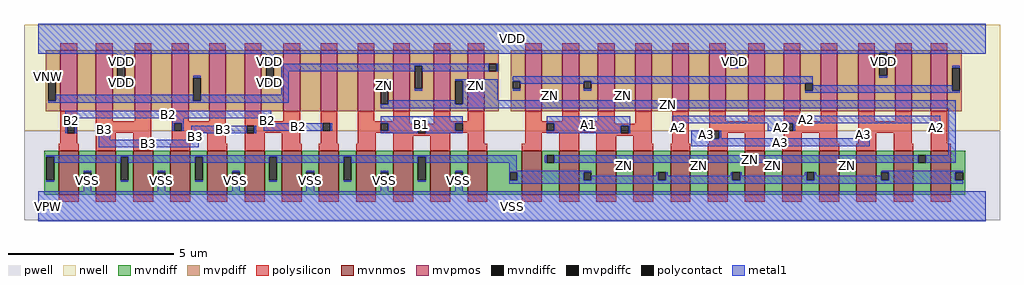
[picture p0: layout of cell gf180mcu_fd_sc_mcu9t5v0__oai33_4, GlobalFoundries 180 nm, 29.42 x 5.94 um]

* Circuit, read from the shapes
.subckt gf180mcu_fd_sc_mcu9t5v0__oai33_4 A1 A2 A3 B1 B2 B3 ZN VDD VNW VPW VSS
XM1 VSS B2 n1 VPW nfet_06v0 w=1.32u l=0.6u m=4
XM2 n1 B3 VSS VPW nfet_06v0 w=1.32u l=0.6u m=4
XM3 VSS B1 n1 VPW nfet_06v0 w=1.32u l=0.6u m=4
XM4 ZN A1 n1 VPW nfet_06v0 w=1.32u l=0.6u m=4
XM5 ZN A2 n1 VPW nfet_06v0 w=1.32u l=0.6u m=4
XM6 n1 A3 ZN VPW nfet_06v0 w=1.32u l=0.6u m=4
XM7 n2 B2 n3 VNW pfet_06v0 w=1.83u l=0.5u
XM8 VDD B3 n2 VNW pfet_06v0 w=1.83u l=0.5u
XM9 n4 B3 VDD VNW pfet_06v0 w=1.83u l=0.5u
XM10 n3 B2 n4 VNW pfet_06v0 w=1.83u l=0.5u
XM11 n5 B2 n3 VNW pfet_06v0 w=1.83u l=0.5u
XM12 VDD B3 n5 VNW pfet_06v0 w=1.83u l=0.5u
XM13 n6 B3 VDD VNW pfet_06v0 w=1.83u l=0.5u
XM14 n7 B2 n6 VNW pfet_06v0 w=1.83u l=0.5u
XM15 ZN B1 n7 VNW pfet_06v0 w=1.83u l=0.5u
XM16 n3 B1 ZN VNW pfet_06v0 w=1.83u l=0.5u m=3
XM17 ZN A1 n8 VNW pfet_06v0 w=1.83u l=0.5u m=3
XM18 n9 A1 ZN VNW pfet_06v0 w=1.83u l=0.5u
XM19 n10 A2 n9 VNW pfet_06v0 w=1.83u l=0.5u
XM20 VDD A3 n10 VNW pfet_06v0 w=1.83u l=0.5u
XM21 n11 A3 VDD VNW pfet_06v0 w=1.83u l=0.5u
XM22 n8 A2 n11 VNW pfet_06v0 w=1.83u l=0.5u
XM23 n12 A2 n8 VNW pfet_06v0 w=1.83u l=0.5u
XM24 VDD A3 n12 VNW pfet_06v0 w=1.83u l=0.5u
XM25 n13 A3 VDD VNW pfet_06v0 w=1.83u l=0.5u
XM26 n8 A2 n13 VNW pfet_06v0 w=1.83u l=0.5u
.ends

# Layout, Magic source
magic
tech gf180mcuD
magscale 1 10
<< nwell >>
rect -86 453 5798 1094
<< pwell >>
rect -86 -86 5798 453
<< mvnmos >>
rect 124 69 244 333
rect 348 69 468 333
rect 572 69 692 333
rect 796 69 916 333
rect 1020 69 1140 333
rect 1244 69 1364 333
rect 1468 69 1588 333
rect 1692 69 1812 333
rect 1916 69 2036 333
rect 2140 69 2260 333
rect 2364 69 2484 333
rect 2588 69 2708 333
rect 2916 69 3036 333
rect 3140 69 3260 333
rect 3364 69 3484 333
rect 3588 69 3708 333
rect 3812 69 3932 333
rect 4036 69 4156 333
rect 4260 69 4380 333
rect 4484 69 4604 333
rect 4708 69 4828 333
rect 4932 69 5052 333
rect 5156 69 5276 333
rect 5380 69 5500 333
<< mvpmos >>
rect 134 573 234 939
rect 348 573 448 939
rect 582 573 682 939
rect 806 573 906 939
rect 1030 573 1130 939
rect 1244 573 1344 939
rect 1478 573 1578 939
rect 1702 573 1802 939
rect 1926 573 2026 939
rect 2140 573 2240 939
rect 2384 573 2484 939
rect 2588 573 2688 939
rect 2936 573 3036 939
rect 3160 573 3260 939
rect 3374 573 3474 939
rect 3598 573 3698 939
rect 3822 573 3922 939
rect 4046 573 4146 939
rect 4280 573 4380 939
rect 4494 573 4594 939
rect 4718 573 4818 939
rect 4942 573 5042 939
rect 5166 573 5266 939
rect 5380 573 5480 939
<< mvndiff >>
rect 36 297 124 333
rect 36 157 49 297
rect 95 157 124 297
rect 36 69 124 157
rect 244 203 348 333
rect 244 157 273 203
rect 319 157 348 203
rect 244 69 348 157
rect 468 297 572 333
rect 468 157 497 297
rect 543 157 572 297
rect 468 69 572 157
rect 692 203 796 333
rect 692 157 721 203
rect 767 157 796 203
rect 692 69 796 157
rect 916 297 1020 333
rect 916 157 945 297
rect 991 157 1020 297
rect 916 69 1020 157
rect 1140 203 1244 333
rect 1140 157 1169 203
rect 1215 157 1244 203
rect 1140 69 1244 157
rect 1364 297 1468 333
rect 1364 157 1393 297
rect 1439 157 1468 297
rect 1364 69 1468 157
rect 1588 203 1692 333
rect 1588 157 1617 203
rect 1663 157 1692 203
rect 1588 69 1692 157
rect 1812 297 1916 333
rect 1812 157 1841 297
rect 1887 157 1916 297
rect 1812 69 1916 157
rect 2036 203 2140 333
rect 2036 157 2065 203
rect 2111 157 2140 203
rect 2036 69 2140 157
rect 2260 297 2364 333
rect 2260 157 2289 297
rect 2335 157 2364 297
rect 2260 69 2364 157
rect 2484 203 2588 333
rect 2484 157 2513 203
rect 2559 157 2588 203
rect 2484 69 2588 157
rect 2708 203 2916 333
rect 2708 157 2841 203
rect 2887 157 2916 203
rect 2708 69 2916 157
rect 3036 306 3140 333
rect 3036 260 3065 306
rect 3111 260 3140 306
rect 3036 69 3140 260
rect 3260 203 3364 333
rect 3260 157 3289 203
rect 3335 157 3364 203
rect 3260 69 3364 157
rect 3484 274 3588 333
rect 3484 228 3513 274
rect 3559 228 3588 274
rect 3484 69 3588 228
rect 3708 203 3812 333
rect 3708 157 3737 203
rect 3783 157 3812 203
rect 3708 69 3812 157
rect 3932 274 4036 333
rect 3932 228 3961 274
rect 4007 228 4036 274
rect 3932 69 4036 228
rect 4156 203 4260 333
rect 4156 157 4185 203
rect 4231 157 4260 203
rect 4156 69 4260 157
rect 4380 274 4484 333
rect 4380 228 4409 274
rect 4455 228 4484 274
rect 4380 69 4484 228
rect 4604 203 4708 333
rect 4604 157 4633 203
rect 4679 157 4708 203
rect 4604 69 4708 157
rect 4828 274 4932 333
rect 4828 228 4857 274
rect 4903 228 4932 274
rect 4828 69 4932 228
rect 5052 203 5156 333
rect 5052 157 5081 203
rect 5127 157 5156 203
rect 5052 69 5156 157
rect 5276 306 5380 333
rect 5276 260 5305 306
rect 5351 260 5380 306
rect 5276 69 5380 260
rect 5500 203 5588 333
rect 5500 157 5529 203
rect 5575 157 5588 203
rect 5500 69 5588 157
<< mvpdiff >>
rect 46 775 134 939
rect 46 635 59 775
rect 105 635 134 775
rect 46 573 134 635
rect 234 573 348 939
rect 448 867 582 939
rect 448 727 477 867
rect 523 727 582 867
rect 448 573 582 727
rect 682 573 806 939
rect 906 775 1030 939
rect 906 635 935 775
rect 981 635 1030 775
rect 906 573 1030 635
rect 1130 573 1244 939
rect 1344 867 1478 939
rect 1344 727 1373 867
rect 1419 727 1478 867
rect 1344 573 1478 727
rect 1578 573 1702 939
rect 1802 573 1926 939
rect 2026 755 2140 939
rect 2026 615 2065 755
rect 2111 615 2140 755
rect 2026 573 2140 615
rect 2240 847 2384 939
rect 2240 707 2269 847
rect 2315 707 2384 847
rect 2240 573 2384 707
rect 2484 755 2588 939
rect 2484 615 2513 755
rect 2559 615 2588 755
rect 2484 573 2588 615
rect 2688 858 2776 939
rect 2688 812 2717 858
rect 2763 812 2776 858
rect 2688 573 2776 812
rect 2848 753 2936 939
rect 2848 707 2861 753
rect 2907 707 2936 753
rect 2848 573 2936 707
rect 3036 681 3160 939
rect 3036 635 3065 681
rect 3111 635 3160 681
rect 3036 573 3160 635
rect 3260 753 3374 939
rect 3260 707 3289 753
rect 3335 707 3374 753
rect 3260 573 3374 707
rect 3474 681 3598 939
rect 3474 635 3503 681
rect 3549 635 3598 681
rect 3474 573 3598 635
rect 3698 573 3822 939
rect 3922 573 4046 939
rect 4146 887 4280 939
rect 4146 841 4175 887
rect 4221 841 4280 887
rect 4146 573 4280 841
rect 4380 573 4494 939
rect 4594 740 4718 939
rect 4594 694 4623 740
rect 4669 694 4718 740
rect 4594 573 4718 694
rect 4818 573 4942 939
rect 5042 926 5166 939
rect 5042 786 5071 926
rect 5117 786 5166 926
rect 5042 573 5166 786
rect 5266 573 5380 939
rect 5480 834 5568 939
rect 5480 694 5509 834
rect 5555 694 5568 834
rect 5480 573 5568 694
<< mvndiffc >>
rect 49 157 95 297
rect 273 157 319 203
rect 497 157 543 297
rect 721 157 767 203
rect 945 157 991 297
rect 1169 157 1215 203
rect 1393 157 1439 297
rect 1617 157 1663 203
rect 1841 157 1887 297
rect 2065 157 2111 203
rect 2289 157 2335 297
rect 2513 157 2559 203
rect 2841 157 2887 203
rect 3065 260 3111 306
rect 3289 157 3335 203
rect 3513 228 3559 274
rect 3737 157 3783 203
rect 3961 228 4007 274
rect 4185 157 4231 203
rect 4409 228 4455 274
rect 4633 157 4679 203
rect 4857 228 4903 274
rect 5081 157 5127 203
rect 5305 260 5351 306
rect 5529 157 5575 203
<< mvpdiffc >>
rect 59 635 105 775
rect 477 727 523 867
rect 935 635 981 775
rect 1373 727 1419 867
rect 2065 615 2111 755
rect 2269 707 2315 847
rect 2513 615 2559 755
rect 2717 812 2763 858
rect 2861 707 2907 753
rect 3065 635 3111 681
rect 3289 707 3335 753
rect 3503 635 3549 681
rect 4175 841 4221 887
rect 4623 694 4669 740
rect 5071 786 5117 926
rect 5509 694 5555 834
<< polysilicon >>
rect 134 939 234 983
rect 348 939 448 983
rect 582 939 682 983
rect 806 939 906 983
rect 1030 939 1130 983
rect 1244 939 1344 983
rect 1478 939 1578 983
rect 1702 939 1802 983
rect 1926 939 2026 983
rect 2140 939 2240 983
rect 2384 939 2484 983
rect 2588 939 2688 983
rect 2936 939 3036 983
rect 3160 939 3260 983
rect 3374 939 3474 983
rect 3598 939 3698 983
rect 3822 939 3922 983
rect 4046 939 4146 983
rect 4280 939 4380 983
rect 4494 939 4594 983
rect 4718 939 4818 983
rect 4942 939 5042 983
rect 5166 939 5266 983
rect 5380 939 5480 983
rect 134 484 234 573
rect 134 438 175 484
rect 221 438 234 484
rect 134 377 234 438
rect 348 513 448 573
rect 582 513 682 573
rect 348 484 682 513
rect 348 438 377 484
rect 423 441 682 484
rect 423 438 468 441
rect 124 333 244 377
rect 348 333 468 438
rect 572 377 682 441
rect 806 513 906 573
rect 1030 513 1130 573
rect 806 500 1130 513
rect 806 454 819 500
rect 865 454 1130 500
rect 806 441 1130 454
rect 806 377 916 441
rect 572 333 692 377
rect 796 333 916 377
rect 1020 377 1130 441
rect 1244 513 1344 573
rect 1478 513 1578 573
rect 1244 484 1578 513
rect 1244 438 1257 484
rect 1303 441 1578 484
rect 1303 438 1364 441
rect 1020 333 1140 377
rect 1244 333 1364 438
rect 1468 377 1578 441
rect 1702 500 1802 573
rect 1702 454 1715 500
rect 1761 454 1802 500
rect 1702 377 1802 454
rect 1926 513 2026 573
rect 2140 513 2240 573
rect 1926 500 2240 513
rect 1926 454 2065 500
rect 2111 497 2240 500
rect 2384 513 2484 573
rect 2588 513 2688 573
rect 2384 500 2688 513
rect 2384 497 2513 500
rect 2111 484 2513 497
rect 2111 454 2289 484
rect 1926 441 2289 454
rect 1926 377 2036 441
rect 1468 333 1588 377
rect 1692 333 1812 377
rect 1916 333 2036 377
rect 2140 438 2289 441
rect 2335 454 2513 484
rect 2559 454 2688 500
rect 2335 441 2688 454
rect 2335 438 2484 441
rect 2140 425 2484 438
rect 2140 333 2260 425
rect 2364 333 2484 425
rect 2588 377 2688 441
rect 2936 513 3036 573
rect 3160 513 3260 573
rect 3374 513 3474 573
rect 2936 500 3474 513
rect 2936 454 3065 500
rect 3111 454 3289 500
rect 3335 497 3474 500
rect 3598 497 3698 573
rect 3335 484 3698 497
rect 3335 454 3513 484
rect 2936 441 3513 454
rect 2936 377 3036 441
rect 2588 333 2708 377
rect 2916 333 3036 377
rect 3140 333 3260 441
rect 3364 438 3513 441
rect 3559 438 3698 484
rect 3364 425 3698 438
rect 3364 333 3484 425
rect 3588 377 3698 425
rect 3822 500 3922 573
rect 3822 454 3835 500
rect 3881 454 3922 500
rect 3822 377 3922 454
rect 4046 513 4146 573
rect 4280 513 4380 573
rect 4046 453 4380 513
rect 4046 407 4059 453
rect 4105 441 4380 453
rect 4105 407 4156 441
rect 4046 377 4156 407
rect 3588 333 3708 377
rect 3812 333 3932 377
rect 4036 333 4156 377
rect 4260 333 4380 441
rect 4494 513 4594 573
rect 4718 513 4818 573
rect 4494 500 4818 513
rect 4494 454 4507 500
rect 4553 454 4818 500
rect 4494 441 4818 454
rect 4494 377 4604 441
rect 4484 333 4604 377
rect 4708 377 4818 441
rect 4942 513 5042 573
rect 5166 513 5266 573
rect 4942 453 5266 513
rect 4942 407 4955 453
rect 5001 441 5266 453
rect 5001 407 5052 441
rect 4942 377 5052 407
rect 4708 333 4828 377
rect 4932 333 5052 377
rect 5156 377 5266 441
rect 5380 500 5480 573
rect 5380 454 5393 500
rect 5439 454 5480 500
rect 5380 377 5480 454
rect 5156 333 5276 377
rect 5380 333 5500 377
rect 124 25 244 69
rect 348 25 468 69
rect 572 25 692 69
rect 796 25 916 69
rect 1020 25 1140 69
rect 1244 25 1364 69
rect 1468 25 1588 69
rect 1692 25 1812 69
rect 1916 25 2036 69
rect 2140 25 2260 69
rect 2364 25 2484 69
rect 2588 25 2708 69
rect 2916 25 3036 69
rect 3140 25 3260 69
rect 3364 25 3484 69
rect 3588 25 3708 69
rect 3812 25 3932 69
rect 4036 25 4156 69
rect 4260 25 4380 69
rect 4484 25 4604 69
rect 4708 25 4828 69
rect 4932 25 5052 69
rect 5156 25 5276 69
rect 5380 25 5500 69
<< polycontact >>
rect 175 438 221 484
rect 377 438 423 484
rect 819 454 865 500
rect 1257 438 1303 484
rect 1715 454 1761 500
rect 2065 454 2111 500
rect 2289 438 2335 484
rect 2513 454 2559 500
rect 3065 454 3111 500
rect 3289 454 3335 500
rect 3513 438 3559 484
rect 3835 454 3881 500
rect 4059 407 4105 453
rect 4507 454 4553 500
rect 4955 407 5001 453
rect 5393 454 5439 500
<< metal1 >>
rect 0 926 5712 1098
rect 0 918 5071 926
rect 477 867 523 918
rect 59 775 105 786
rect 1373 867 1419 918
rect 477 716 523 727
rect 935 775 981 786
rect 105 635 935 670
rect 4175 887 4221 918
rect 1373 716 1419 727
rect 1465 847 2717 858
rect 1465 812 2269 847
rect 1465 670 1511 812
rect 981 635 1511 670
rect 59 624 1511 635
rect 2065 755 2111 766
rect 2315 812 2717 847
rect 2763 812 2774 858
rect 4175 830 4221 841
rect 5117 918 5712 926
rect 2269 696 2315 707
rect 2513 755 2770 766
rect 2111 615 2513 637
rect 2559 637 2770 755
rect 2861 753 4669 784
rect 5071 775 5117 786
rect 5509 834 5555 845
rect 2907 738 3289 753
rect 2861 696 2907 707
rect 3335 740 4669 753
rect 3335 738 4623 740
rect 3289 696 3335 707
rect 4669 694 5509 729
rect 3065 681 3111 692
rect 2559 635 3065 637
rect 3503 681 3549 692
rect 4623 683 5555 694
rect 3111 635 3503 637
rect 3549 635 5531 637
rect 2559 615 5531 635
rect 2065 591 5531 615
rect 164 530 1406 576
rect 164 484 232 530
rect 808 500 876 530
rect 164 438 175 484
rect 221 438 232 484
rect 366 438 377 484
rect 423 438 434 484
rect 808 454 819 500
rect 865 454 876 500
rect 1360 500 1406 530
rect 2065 500 2559 542
rect 366 400 434 438
rect 922 438 1257 484
rect 1303 438 1314 484
rect 1360 454 1715 500
rect 1761 454 1772 500
rect 2111 484 2513 500
rect 2111 454 2289 484
rect 2065 438 2289 454
rect 2335 454 2513 484
rect 2335 438 2559 454
rect 3065 500 3570 542
rect 3111 454 3289 500
rect 3335 484 3570 500
rect 3335 454 3513 484
rect 3065 438 3513 454
rect 3559 438 3570 484
rect 3824 500 5439 545
rect 3824 454 3835 500
rect 3881 499 4507 500
rect 3881 454 3892 499
rect 4398 454 4507 499
rect 4553 499 5393 500
rect 4553 454 4564 499
rect 922 400 968 438
rect 366 354 968 400
rect 3938 407 4059 453
rect 4105 408 4116 453
rect 4944 408 4955 453
rect 4105 407 4955 408
rect 5001 407 5012 453
rect 5393 443 5439 454
rect 3938 362 5012 407
rect 49 297 2886 308
rect 5485 306 5531 591
rect 95 262 497 297
rect 49 146 95 157
rect 273 203 319 214
rect 273 90 319 157
rect 543 262 945 297
rect 497 146 543 157
rect 721 203 767 214
rect 721 90 767 157
rect 991 262 1393 297
rect 945 146 991 157
rect 1169 203 1215 214
rect 1169 90 1215 157
rect 1439 262 1841 297
rect 1393 146 1439 157
rect 1617 203 1663 214
rect 1617 90 1663 157
rect 1887 262 2289 297
rect 1841 146 1887 157
rect 2065 203 2111 214
rect 2065 90 2111 157
rect 2335 262 2886 297
rect 2840 214 2886 262
rect 3054 260 3065 306
rect 3111 274 5305 306
rect 3111 260 3513 274
rect 3502 228 3513 260
rect 3559 260 3961 274
rect 3559 228 3570 260
rect 3950 228 3961 260
rect 4007 260 4409 274
rect 4007 228 4018 260
rect 4398 228 4409 260
rect 4455 260 4857 274
rect 4455 228 4466 260
rect 4846 228 4857 260
rect 4903 260 5305 274
rect 5351 260 5531 306
rect 4903 228 4914 260
rect 2289 146 2335 157
rect 2513 203 2559 214
rect 2513 90 2559 157
rect 2840 203 3335 214
rect 5081 203 5575 214
rect 2840 157 2841 203
rect 2887 157 3289 203
rect 3726 182 3737 203
rect 3335 157 3737 182
rect 3783 182 3794 203
rect 4174 182 4185 203
rect 3783 157 4185 182
rect 4231 182 4242 203
rect 4622 182 4633 203
rect 4231 157 4633 182
rect 4679 182 4690 203
rect 4679 157 5081 182
rect 5127 157 5529 203
rect 2840 136 5575 157
rect 0 -90 5712 90
<< labels >>
flabel metal1 s 3065 438 3570 542 0 FreeSans 200 0 0 0 A1
port 1 nsew default input
flabel metal1 s 3824 499 5439 545 0 FreeSans 200 0 0 0 A2
port 2 nsew default input
flabel metal1 s 4944 408 5012 453 0 FreeSans 200 0 0 0 A3
port 3 nsew default input
flabel metal1 s 2065 438 2559 542 0 FreeSans 200 0 0 0 B1
port 4 nsew default input
flabel metal1 s 164 530 1406 576 0 FreeSans 200 0 0 0 B2
port 5 nsew default input
flabel metal1 s 922 438 1314 484 0 FreeSans 200 0 0 0 B3
port 6 nsew default input
flabel metal1 s 0 918 5712 1098 0 FreeSans 200 0 0 0 VDD
port 8 nsew power bidirectional abutment
flabel metal1 s 2513 90 2559 214 0 FreeSans 200 0 0 0 VSS
port 11 nsew ground bidirectional abutment
flabel metal1 s 2513 692 2770 766 0 FreeSans 200 0 0 0 ZN
port 7 nsew default output
flabel nwell s 10 734 110 834 0 FreeSans 400 0 0 0 VNW
port 9 nsew power bidirectional
flabel pwell s 10 -50 110 50 0 FreeSans 400 0 0 0 VPW
port 10 nsew ground bidirectional
rlabel metal1 s 5393 454 5439 499 1 A2
port 2 nsew default input
rlabel metal1 s 4398 454 4564 499 1 A2
port 2 nsew default input
rlabel metal1 s 3824 454 3892 499 1 A2
port 2 nsew default input
rlabel metal1 s 5393 443 5439 454 1 A2
port 2 nsew default input
rlabel metal1 s 3938 408 4116 453 1 A3
port 3 nsew default input
rlabel metal1 s 3938 362 5012 408 1 A3
port 3 nsew default input
rlabel metal1 s 1360 500 1406 530 1 B2
port 5 nsew default input
rlabel metal1 s 808 500 876 530 1 B2
port 5 nsew default input
rlabel metal1 s 164 500 232 530 1 B2
port 5 nsew default input
rlabel metal1 s 1360 454 1772 500 1 B2
port 5 nsew default input
rlabel metal1 s 808 454 876 500 1 B2
port 5 nsew default input
rlabel metal1 s 164 454 232 500 1 B2
port 5 nsew default input
rlabel metal1 s 164 438 232 454 1 B2
port 5 nsew default input
rlabel metal1 s 366 438 434 484 1 B3
port 6 nsew default input
rlabel metal1 s 922 400 968 438 1 B3
port 6 nsew default input
rlabel metal1 s 366 400 434 438 1 B3
port 6 nsew default input
rlabel metal1 s 366 354 968 400 1 B3
port 6 nsew default input
rlabel metal1 s 2065 692 2111 766 1 ZN
port 7 nsew default output
rlabel metal1 s 3503 637 3549 692 1 ZN
port 7 nsew default output
rlabel metal1 s 3065 637 3111 692 1 ZN
port 7 nsew default output
rlabel metal1 s 2513 637 2770 692 1 ZN
port 7 nsew default output
rlabel metal1 s 2065 637 2111 692 1 ZN
port 7 nsew default output
rlabel metal1 s 2065 591 5531 637 1 ZN
port 7 nsew default output
rlabel metal1 s 5485 306 5531 591 1 ZN
port 7 nsew default output
rlabel metal1 s 3054 260 5531 306 1 ZN
port 7 nsew default output
rlabel metal1 s 4846 228 4914 260 1 ZN
port 7 nsew default output
rlabel metal1 s 4398 228 4466 260 1 ZN
port 7 nsew default output
rlabel metal1 s 3950 228 4018 260 1 ZN
port 7 nsew default output
rlabel metal1 s 3502 228 3570 260 1 ZN
port 7 nsew default output
rlabel metal1 s 5071 830 5117 918 1 VDD
port 8 nsew power bidirectional abutment
rlabel metal1 s 4175 830 4221 918 1 VDD
port 8 nsew power bidirectional abutment
rlabel metal1 s 1373 830 1419 918 1 VDD
port 8 nsew power bidirectional abutment
rlabel metal1 s 477 830 523 918 1 VDD
port 8 nsew power bidirectional abutment
rlabel metal1 s 5071 775 5117 830 1 VDD
port 8 nsew power bidirectional abutment
rlabel metal1 s 1373 775 1419 830 1 VDD
port 8 nsew power bidirectional abutment
rlabel metal1 s 477 775 523 830 1 VDD
port 8 nsew power bidirectional abutment
rlabel metal1 s 1373 716 1419 775 1 VDD
port 8 nsew power bidirectional abutment
rlabel metal1 s 477 716 523 775 1 VDD
port 8 nsew power bidirectional abutment
rlabel metal1 s 2065 90 2111 214 1 VSS
port 11 nsew ground bidirectional abutment
rlabel metal1 s 1617 90 1663 214 1 VSS
port 11 nsew ground bidirectional abutment
rlabel metal1 s 1169 90 1215 214 1 VSS
port 11 nsew ground bidirectional abutment
rlabel metal1 s 721 90 767 214 1 VSS
port 11 nsew ground bidirectional abutment
rlabel metal1 s 273 90 319 214 1 VSS
port 11 nsew ground bidirectional abutment
rlabel metal1 s 0 -90 5712 90 1 VSS
port 11 nsew ground bidirectional abutment
<< properties >>
string FIXED_BBOX 0 0 5712 1008
string GDS_END 203536
string GDS_FILE $PDKPATH/libs.ref/gf180mcu_fd_sc_mcu9t5v0/gds/gf180mcu_fd_sc_mcu9t5v0.gds
string GDS_START 193284
string LEFclass core
string LEFsite GF018hv5v_green_sc9
string LEFsymmetry X Y
<< end >>
